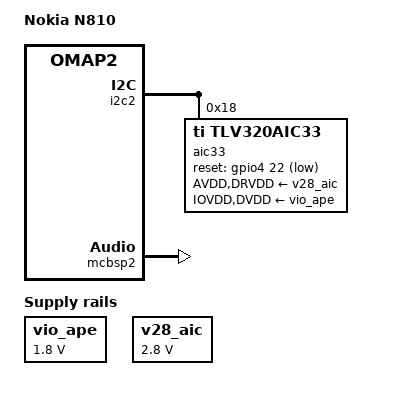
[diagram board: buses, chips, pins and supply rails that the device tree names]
// SPDX-License-Identifier: GPL-2.0
/dts-v1/;

#include "omap2420-n8x0-common.dtsi"

/ {
	model = "Nokia N810";
	compatible = "nokia,n810", "nokia,n8x0", "ti,omap2420", "ti,omap2";

	vio_ape: vio_ape {
		compatible = "regulator-fixed";
		regulator-name = "vio_ape";
		regulator-min-microvolt = <1800000>;
		regulator-max-microvolt = <1800000>;
	};

	v28_aic: v28_aic {
		compatible = "regulator-fixed";
		regulator-name = "v28_aic";
		regulator-min-microvolt = <2800000>;
		regulator-max-microvolt = <2800000>;
	};
};

&omap2420_pmx {
	mcbsp2_pins: mcbsp2_pins {
		pinctrl-single,pins = <
			OMAP2420_CORE_IOPAD(0x0124, PIN_INPUT | MUX_MODE1)	/* eac_ac_sclk.mcbsp2_clkx */
			OMAP2420_CORE_IOPAD(0x0125, PIN_INPUT | MUX_MODE1)	/* eac_ac_fs.mcbsp2_fsx */
			OMAP2420_CORE_IOPAD(0x0126, PIN_INPUT | MUX_MODE1)	/* eac_ac_din.mcbsp2_dr */
			OMAP2420_CORE_IOPAD(0x0127, PIN_OUTPUT | MUX_MODE1)	/* eac_ac_dout.mcbsp2_dx */
		>;
	};

	aic33_pins: aic33_pins {
		pinctrl-single,pins = <
			OMAP2420_CORE_IOPAD(0x0129, PIN_OUTPUT | MUX_MODE3)	/* eac_ac_rst.gpio118 */
			OMAP2420_CORE_IOPAD(0x00e8, PIN_OUTPUT | MUX_MODE2)	/* vlynq_tx1.sys_clkout2 */
		>;
	};
};

&i2c2 {
	aic33@18 {
		compatible = "ti,tlv320aic33";
		reg = <0x18>;

		pinctrl-names = "default";
		pinctrl-0 = <&aic33_pins>;

		reset-gpios = <&gpio4 22 GPIO_ACTIVE_LOW>; /* gpio118 */

		ai3x-gpio-func = <
			10 /* AIC3X_GPIO1_FUNC_DIGITAL_MIC_MODCLK */
			5 /* AIC3X_GPIO2_FUNC_DIGITAL_MIC_INPUT */
		>;
		ai3x-micbias-vg = <1>; /* 2V */

		AVDD-supply = <&v28_aic>;
		DRVDD-supply = <&v28_aic>;
		IOVDD-supply = <&vio_ape>;
		DVDD-supply = <&vio_ape>;

		assigned-clocks = <&sys_clkout2_src>, <&sys_clkout2>;
		assigned-clock-parents = <&func_96m_ck>;
		assigned-clock-rates = <0>, <12000000>;
	};
};

&mcbsp2 {
	pinctrl-names = "default";
	pinctrl-0 = <&mcbsp2_pins>;

	status = "okay";
};
